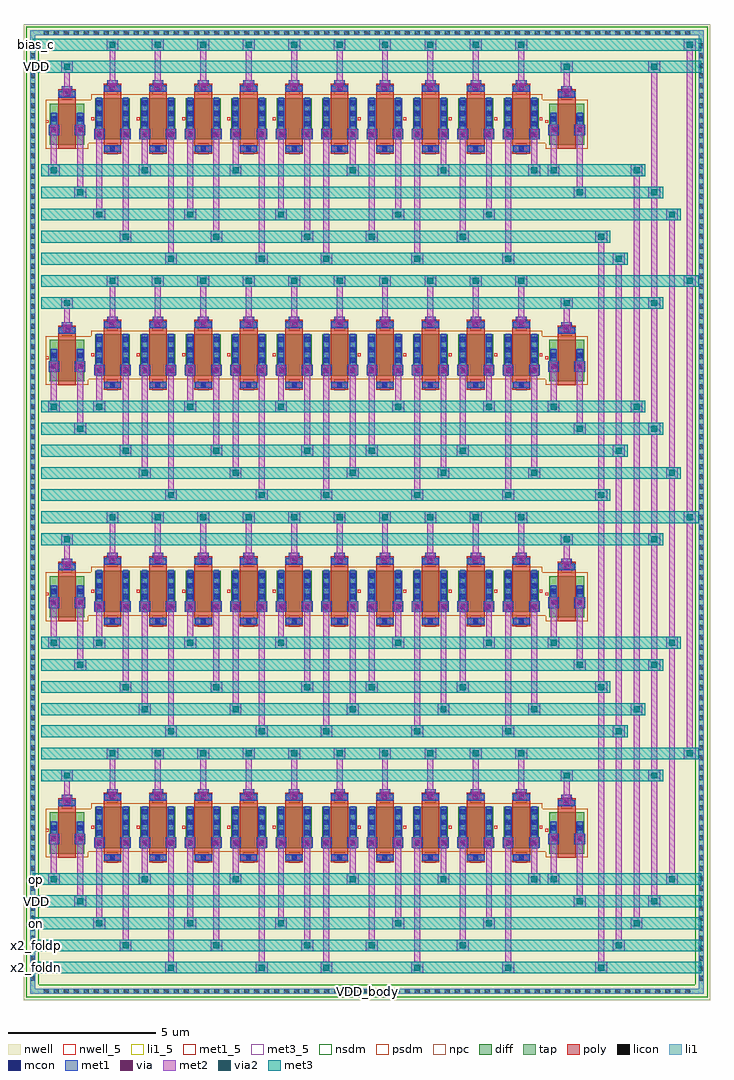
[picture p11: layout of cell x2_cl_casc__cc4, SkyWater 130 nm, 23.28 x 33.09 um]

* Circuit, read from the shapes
.subckt x2_cl_casc__cc4 VDD VDD_body bias_c on op x2_foldn x2_foldp
XM1 VDD VDD op VDD_body sky130_fd_pr__pfet_01v8 w=1.4 l=0.6 m=4
XM2 VDD VDD on VDD_body sky130_fd_pr__pfet_01v8 w=1.4 l=0.6 m=4
XM3 x2_foldp bias_c on VDD_body sky130_fd_pr__pfet_01v8 w=1.4 l=0.6 m=20
XM4 x2_foldn bias_c op VDD_body sky130_fd_pr__pfet_01v8 w=1.4 l=0.6 m=20
.ends

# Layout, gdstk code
from math import pi, radians
import gdstk
lib = gdstk.Library(unit=1e-6, precision=1e-09)
def R(c, l, rs):  # rectangles x0, y0, x1, y1
    for r in rs: c.add(gdstk.rectangle(r[:2], r[2:], *l))
def A(c, l, x, y, w, h, nx, ny, dx, dy):  # array of equal rectangles
    R(c, l, [(x+i*dx, y+j*dy, x+i*dx+w, y+j*dy+h) for i in range(nx) for j in range(ny)])
nwell_5 = (64, 5)
nwell = (64, 20)
diff = (65, 20)
tap = (65, 44)
poly = (66, 20)
licon = (66, 44)
li1_5 = (67, 5)
li1 = (67, 20)
mcon = (67, 44)
met1_5 = (68, 5)
met1 = (68, 20)
via = (68, 44)
met2 = (69, 20)
via2 = (69, 44)
met3_5 = (70, 5)
met3 = (70, 20)
nsdm = (93, 44)
psdm = (94, 20)
npc = (95, 20)

sky130_fd_pr__pfet_01v8_ = lib.new_cell('sky130_fd_pr__pfet_01v8_FGX5XW')
R(sky130_fd_pr__pfet_01v8_, nwell, [(-0.77,-1.19,0.77,1.02)])
R(sky130_fd_pr__pfet_01v8_, diff, [(-0.59,-0.88,0.59,0.52)])
R(sky130_fd_pr__pfet_01v8_, poly, [(-0.3,-1.01,0.3,1.005)])
R(sky130_fd_pr__pfet_01v8_, licon, [(-0.53,-0.435,-0.36,-0.265), (0.36,-0.435,0.53,-0.265), (-0.53,-0.095,-0.36,0.075), (0.36,-0.095,0.53,0.075), (-0.085,0.755,0.085,0.925)])
R(sky130_fd_pr__pfet_01v8_, li1, [(-0.53,-0.58,-0.36,0.22), (0.36,-0.58,0.53,0.22), (-0.3,0.755,0.3,0.925)])
R(sky130_fd_pr__pfet_01v8_, mcon, [(-0.53,-0.445,-0.36,-0.275), (0.36,-0.445,0.53,-0.275), (-0.53,-0.085,-0.36,0.085), (0.36,-0.085,0.53,0.085), (-0.085,0.755,0.085,0.925)])
R(sky130_fd_pr__pfet_01v8_, met1, [(-0.56,-0.56,-0.33,0.2), (0.33,-0.56,0.56,0.2), (-0.28,0.725,0.28,0.955)])
R(sky130_fd_pr__pfet_01v8_, psdm, [(-0.715,-1.005,0.715,0.645)])
R(sky130_fd_pr__pfet_01v8_, npc, [(-0.185,0.655,0.185,1.025)])
sky130_fd_pr__pfet_01v8_.add(gdstk.Label('D', (-0.445,-0.18), layer=67, texttype=5))
sky130_fd_pr__pfet_01v8_.add(gdstk.Label('S', (0.445,-0.18), layer=67, texttype=5))
sky130_fd_pr__pfet_01v8_.add(gdstk.Label('G', (0,0.84), layer=67, texttype=5))

pfet_01v8_w1p4_l0p6_m4__ = lib.new_cell('pfet_01v8_W1p4_L0p6_m4__nf1_gtop_sdhalf_ng')
R(pfet_01v8_w1p4_l0p6_m4__, nwell_5, [(0.05,1.055,0.15,1.155)])
R(pfet_01v8_w1p4_l0p6_m4__, nwell, [(0.05,1.055,0.15,1.155)])
R(pfet_01v8_w1p4_l0p6_m4__, met1_5, [(0.21,1.01,0.44,1.21), (1.1,1.01,1.33,1.21), (0.49,1.915,1.05,2.145)])
R(pfet_01v8_w1p4_l0p6_m4__, met1, [(0.21,1.01,0.44,1.21), (1.1,1.01,1.33,1.21), (0.49,1.915,1.05,2.145)])
pfet_01v8_w1p4_l0p6_m4__.add(gdstk.Reference(sky130_fd_pr__pfet_01v8_, (0.77,1.19)))
pfet_01v8_w1p4_l0p6_m4__.add(gdstk.Label('D', (0.325,1.11), layer=68, texttype=5))
pfet_01v8_w1p4_l0p6_m4__.add(gdstk.Label('S', (1.215,1.11), layer=68, texttype=5))
pfet_01v8_w1p4_l0p6_m4__.add(gdstk.Label('G', (0.77,2.03), layer=68, texttype=5))
pfet_01v8_w1p4_l0p6_m4__.add(gdstk.Label('B', (0.1,1.105), layer=64, texttype=5))

c_sky130_fd_pr__pfet_01v8_ = lib.new_cell('sky130_fd_pr__pfet_01v8_RGDEC8')
R(c_sky130_fd_pr__pfet_01v8_, nwell, [(-0.77,-1.2,0.77,1.2)])
R(c_sky130_fd_pr__pfet_01v8_, diff, [(-0.59,-0.7,0.59,0.7)])
R(c_sky130_fd_pr__pfet_01v8_, poly, [(-0.3,-1.185,0.3,1.185)])
A(c_sky130_fd_pr__pfet_01v8_, licon, -0.53, -0.595, 0.17, 0.17, 1, 4, 0, 0.34)
A(c_sky130_fd_pr__pfet_01v8_, licon, 0.36, -0.595, 0.17, 0.17, 1, 4, 0, 0.34)
R(c_sky130_fd_pr__pfet_01v8_, licon, [(-0.085,-1.105,0.085,-0.935), (-0.085,0.935,0.085,1.105)])
R(c_sky130_fd_pr__pfet_01v8_, li1, [(-0.3,-1.105,0.3,-0.935), (-0.53,-0.72,-0.36,0.72), (0.36,-0.72,0.53,0.72), (-0.3,0.935,0.3,1.105)])
A(c_sky130_fd_pr__pfet_01v8_, mcon, -0.53, -0.625, 0.17, 0.17, 1, 4, 0, 0.36)
A(c_sky130_fd_pr__pfet_01v8_, mcon, 0.36, -0.625, 0.17, 0.17, 1, 4, 0, 0.36)
R(c_sky130_fd_pr__pfet_01v8_, mcon, [(-0.085,-1.105,0.085,-0.935), (-0.085,0.935,0.085,1.105)])
R(c_sky130_fd_pr__pfet_01v8_, met1, [(-0.28,-1.135,0.28,-0.905), (-0.56,-0.7,-0.33,0.7), (0.33,-0.7,0.56,0.7), (-0.28,0.905,0.28,1.135)])
R(c_sky130_fd_pr__pfet_01v8_, psdm, [(-0.715,-0.825,0.715,0.825)])
R(c_sky130_fd_pr__pfet_01v8_, npc, [(-0.185,-1.205,0.185,-0.835), (-0.185,0.835,0.185,1.205)])
c_sky130_fd_pr__pfet_01v8_.add(gdstk.Label('D', (-0.445,0), layer=67, texttype=5))
c_sky130_fd_pr__pfet_01v8_.add(gdstk.Label('S', (0.445,0), layer=67, texttype=5))
c_sky130_fd_pr__pfet_01v8_.add(gdstk.Label('G', (0,1.02), layer=67, texttype=5))

pfet_01v8_w1p4_l0p6_m20_ = lib.new_cell('pfet_01v8_W1p4_L0p6_m20__nf1_gboth_sdfull_ng')
R(pfet_01v8_w1p4_l0p6_m20_, nwell_5, [(0.05,1.15,0.15,1.25)])
R(pfet_01v8_w1p4_l0p6_m20_, nwell, [(0.05,1.15,0.15,1.25)])
R(pfet_01v8_w1p4_l0p6_m20_, met1_5, [(0.21,1.2,0.44,1.4), (1.1,1.2,1.33,1.4), (0.49,2.105,1.05,2.335)])
R(pfet_01v8_w1p4_l0p6_m20_, met1, [(0.21,1.2,0.44,1.4), (1.1,1.2,1.33,1.4), (0.49,2.105,1.05,2.335)])
pfet_01v8_w1p4_l0p6_m20_.add(gdstk.Reference(c_sky130_fd_pr__pfet_01v8_, (0.77,1.2)))
pfet_01v8_w1p4_l0p6_m20_.add(gdstk.Label('D', (0.325,1.3), layer=68, texttype=5))
pfet_01v8_w1p4_l0p6_m20_.add(gdstk.Label('S', (1.215,1.3), layer=68, texttype=5))
pfet_01v8_w1p4_l0p6_m20_.add(gdstk.Label('G', (0.77,2.22), layer=68, texttype=5))
pfet_01v8_w1p4_l0p6_m20_.add(gdstk.Label('B', (0.1,1.2), layer=64, texttype=5))

x2_cl_casc__cc4 = lib.new_cell('x2_cl_casc__cc4')
R(x2_cl_casc__cc4, nwell, [(-0.7,-4.65,22.58,28.44)])
R(x2_cl_casc__cc4, tap, [(-0.485,-4.435,22.365,-4.265), (-0.485,-4.265,-0.315,28.055), (22.195,-4.265,22.365,28.055), (-0.485,28.055,22.365,28.225)])
A(x2_cl_casc__cc4, licon, -0.025, -4.435, 0.17, 0.17, 65, 2, 0.34, 32.49)
A(x2_cl_casc__cc4, licon, -0.485, -4, 0.17, 0.17, 1, 94, 0, 0.34)
A(x2_cl_casc__cc4, licon, 22.195, -4, 0.17, 0.17, 1, 94, 0, 0.34)
R(x2_cl_casc__cc4, li1_5, [(10.89,-4.4,10.99,-4.3)])
R(x2_cl_casc__cc4, li1, [(-0.485,-4.435,22.365,-4.265), (-0.485,-4.265,-0.315,28.055), (22.195,-4.265,22.365,28.055), (-0.485,28.055,22.365,28.225)])
A(x2_cl_casc__cc4, met1, 1.685, 0.505, 0.36, 0.36, 1, 4, 0, 8.01)
A(x2_cl_casc__cc4, met1, 2.575, 0.505, 0.36, 0.36, 1, 4, 0, 8.01)
A(x2_cl_casc__cc4, met1, 3.225, 0.505, 0.36, 0.36, 1, 4, 0, 8.01)
A(x2_cl_casc__cc4, met1, 4.115, 0.505, 0.36, 0.36, 1, 4, 0, 8.01)
A(x2_cl_casc__cc4, met1, 4.765, 0.505, 0.36, 0.36, 1, 4, 0, 8.01)
A(x2_cl_casc__cc4, met1, 5.655, 0.505, 0.36, 0.36, 1, 4, 0, 8.01)
A(x2_cl_casc__cc4, met1, 6.305, 0.505, 0.36, 0.36, 1, 4, 0, 8.01)
A(x2_cl_casc__cc4, met1, 7.195, 0.505, 0.36, 0.36, 1, 4, 0, 8.01)
A(x2_cl_casc__cc4, met1, 7.845, 0.505, 0.36, 0.36, 1, 4, 0, 8.01)
A(x2_cl_casc__cc4, met1, 8.735, 0.505, 0.36, 0.36, 1, 4, 0, 8.01)
A(x2_cl_casc__cc4, met1, 9.385, 0.505, 0.36, 0.36, 1, 4, 0, 8.01)
A(x2_cl_casc__cc4, met1, 10.275, 0.505, 0.36, 0.36, 1, 4, 0, 8.01)
A(x2_cl_casc__cc4, met1, 10.925, 0.505, 0.36, 0.36, 1, 4, 0, 8.01)
A(x2_cl_casc__cc4, met1, 11.815, 0.505, 0.36, 0.36, 1, 4, 0, 8.01)
A(x2_cl_casc__cc4, met1, 12.465, 0.505, 0.36, 0.36, 1, 4, 0, 8.01)
A(x2_cl_casc__cc4, met1, 13.355, 0.505, 0.36, 0.36, 1, 4, 0, 8.01)
A(x2_cl_casc__cc4, met1, 14.005, 0.505, 0.36, 0.36, 1, 4, 0, 8.01)
A(x2_cl_casc__cc4, met1, 14.895, 0.505, 0.36, 0.36, 1, 4, 0, 8.01)
A(x2_cl_casc__cc4, met1, 15.545, 0.505, 0.36, 0.36, 1, 4, 0, 8.01)
A(x2_cl_casc__cc4, met1, 16.435, 0.505, 0.36, 0.36, 1, 4, 0, 8.01)
A(x2_cl_casc__cc4, met1, 0.145, 0.63, 0.36, 0.36, 1, 4, 0, 8.01)
A(x2_cl_casc__cc4, met1, 1.035, 0.63, 0.36, 0.36, 1, 4, 0, 8.01)
A(x2_cl_casc__cc4, met1, 17.085, 0.63, 0.36, 0.36, 1, 4, 0, 8.01)
A(x2_cl_casc__cc4, met1, 17.975, 0.63, 0.36, 0.36, 1, 4, 0, 8.01)
A(x2_cl_casc__cc4, met1, 0.59, 1.945, 0.36, 0.36, 1, 4, 0, 8.01)
A(x2_cl_casc__cc4, met1, 17.53, 1.945, 0.36, 0.36, 1, 4, 0, 8.01)
A(x2_cl_casc__cc4, met1, 2.13, 2.14, 0.36, 0.36, 10, 4, 1.54, 8.01)
A(x2_cl_casc__cc4, via, 1.79, 0.61, 0.15, 0.15, 1, 4, 0, 8.01)
A(x2_cl_casc__cc4, via, 2.68, 0.61, 0.15, 0.15, 1, 4, 0, 8.01)
A(x2_cl_casc__cc4, via, 3.33, 0.61, 0.15, 0.15, 1, 4, 0, 8.01)
A(x2_cl_casc__cc4, via, 4.22, 0.61, 0.15, 0.15, 1, 4, 0, 8.01)
A(x2_cl_casc__cc4, via, 4.87, 0.61, 0.15, 0.15, 1, 4, 0, 8.01)
A(x2_cl_casc__cc4, via, 5.76, 0.61, 0.15, 0.15, 1, 4, 0, 8.01)
A(x2_cl_casc__cc4, via, 6.41, 0.61, 0.15, 0.15, 1, 4, 0, 8.01)
A(x2_cl_casc__cc4, via, 7.3, 0.61, 0.15, 0.15, 1, 4, 0, 8.01)
A(x2_cl_casc__cc4, via, 7.95, 0.61, 0.15, 0.15, 1, 4, 0, 8.01)
A(x2_cl_casc__cc4, via, 8.84, 0.61, 0.15, 0.15, 1, 4, 0, 8.01)
A(x2_cl_casc__cc4, via, 9.49, 0.61, 0.15, 0.15, 1, 4, 0, 8.01)
A(x2_cl_casc__cc4, via, 10.38, 0.61, 0.15, 0.15, 1, 4, 0, 8.01)
A(x2_cl_casc__cc4, via, 11.03, 0.61, 0.15, 0.15, 1, 4, 0, 8.01)
A(x2_cl_casc__cc4, via, 11.92, 0.61, 0.15, 0.15, 1, 4, 0, 8.01)
A(x2_cl_casc__cc4, via, 12.57, 0.61, 0.15, 0.15, 1, 4, 0, 8.01)
A(x2_cl_casc__cc4, via, 13.46, 0.61, 0.15, 0.15, 1, 4, 0, 8.01)
A(x2_cl_casc__cc4, via, 14.11, 0.61, 0.15, 0.15, 1, 4, 0, 8.01)
A(x2_cl_casc__cc4, via, 15, 0.61, 0.15, 0.15, 1, 4, 0, 8.01)
A(x2_cl_casc__cc4, via, 15.65, 0.61, 0.15, 0.15, 1, 4, 0, 8.01)
A(x2_cl_casc__cc4, via, 16.54, 0.61, 0.15, 0.15, 1, 4, 0, 8.01)
A(x2_cl_casc__cc4, via, 0.25, 0.735, 0.15, 0.15, 1, 4, 0, 8.01)
A(x2_cl_casc__cc4, via, 1.14, 0.735, 0.15, 0.15, 1, 4, 0, 8.01)
A(x2_cl_casc__cc4, via, 17.19, 0.735, 0.15, 0.15, 1, 4, 0, 8.01)
A(x2_cl_casc__cc4, via, 18.08, 0.735, 0.15, 0.15, 1, 4, 0, 8.01)
A(x2_cl_casc__cc4, via, 0.695, 2.05, 0.15, 0.15, 1, 4, 0, 8.01)
A(x2_cl_casc__cc4, via, 17.635, 2.05, 0.15, 0.15, 1, 4, 0, 8.01)
A(x2_cl_casc__cc4, via, 2.235, 2.245, 0.15, 0.15, 10, 4, 1.54, 8.01)
A(x2_cl_casc__cc4, met2, 4.095, -3.75, 0.4, 0.4, 1, 4, 0, 8.01)
A(x2_cl_casc__cc4, met2, 7.175, -3.75, 0.4, 0.4, 1, 4, 0, 8.01)
A(x2_cl_casc__cc4, met2, 9.365, -3.75, 0.4, 0.4, 3, 4, 3.08, 8.01)
A(x2_cl_casc__cc4, met2, 4.195, -3.35, 0.2, 3.875, 1, 4, 0, 8.01)
A(x2_cl_casc__cc4, met2, 7.275, -3.35, 0.2, 3.875, 1, 4, 0, 8.01)
A(x2_cl_casc__cc4, met2, 9.465, -3.35, 0.2, 3.875, 3, 4, 3.08, 8.01)
A(x2_cl_casc__cc4, met2, 2.555, -3, 0.4, 0.4, 3, 2, 3.08, 8.76)
A(x2_cl_casc__cc4, met2, 2.655, -2.6, 0.2, 3.125, 3, 2, 3.08, 24.03)
A(x2_cl_casc__cc4, met2, 1.665, -2.25, 0.4, 0.4, 3, 2, 3.08, 9.51)
A(x2_cl_casc__cc4, met2, 1.765, -1.85, 0.2, 2.375, 3, 2, 3.08, 24.03)
A(x2_cl_casc__cc4, met2, 1.015, -1.5, 0.4, 0.4, 1, 4, 0, 8.01)
A(x2_cl_casc__cc4, met2, 17.955, -1.5, 0.4, 0.4, 1, 4, 0, 8.01)
A(x2_cl_casc__cc4, met2, 1.115, -1.1, 0.2, 1.75, 1, 4, 0, 8.01)
A(x2_cl_casc__cc4, met2, 18.055, -1.1, 0.2, 1.75, 1, 4, 0, 8.01)
A(x2_cl_casc__cc4, met2, 20.58, -1.1, 0.2, 3.86, 1, 4, 0, 8.01)
A(x2_cl_casc__cc4, met2, 0.125, -0.75, 0.4, 0.4, 3, 2, 3.08, 24.03)
A(x2_cl_casc__cc4, met2, 10.255, -0.75, 0.4, 0.4, 3, 2, 3.08, 5.76)
A(x2_cl_casc__cc4, met2, 17.065, -0.75, 0.4, 0.4, 1, 4, 0, 8.01)
A(x2_cl_casc__cc4, met2, 0.225, -0.35, 0.2, 1, 1, 4, 0, 8.01)
A(x2_cl_casc__cc4, met2, 10.355, -0.35, 0.2, 0.875, 3, 2, 3.08, 24.03)
A(x2_cl_casc__cc4, met2, 17.165, -0.35, 0.2, 1, 1, 4, 0, 8.01)
A(x2_cl_casc__cc4, met2, 1.735, 0.525, 0.26, 0.32, 1, 4, 0, 8.01)
A(x2_cl_casc__cc4, met2, 2.625, 0.525, 0.26, 0.32, 1, 4, 0, 8.01)
A(x2_cl_casc__cc4, met2, 3.275, 0.525, 0.26, 0.32, 1, 4, 0, 8.01)
A(x2_cl_casc__cc4, met2, 4.165, 0.525, 0.26, 0.32, 1, 4, 0, 8.01)
A(x2_cl_casc__cc4, met2, 4.815, 0.525, 0.26, 0.32, 1, 4, 0, 8.01)
A(x2_cl_casc__cc4, met2, 5.705, 0.525, 0.26, 0.32, 1, 4, 0, 8.01)
A(x2_cl_casc__cc4, met2, 6.355, 0.525, 0.26, 0.32, 1, 4, 0, 8.01)
A(x2_cl_casc__cc4, met2, 7.245, 0.525, 0.26, 0.32, 1, 4, 0, 8.01)
A(x2_cl_casc__cc4, met2, 7.895, 0.525, 0.26, 0.32, 1, 4, 0, 8.01)
A(x2_cl_casc__cc4, met2, 8.785, 0.525, 0.26, 0.32, 1, 4, 0, 8.01)
A(x2_cl_casc__cc4, met2, 9.435, 0.525, 0.26, 0.32, 1, 4, 0, 8.01)
A(x2_cl_casc__cc4, met2, 10.325, 0.525, 0.26, 0.32, 1, 4, 0, 8.01)
A(x2_cl_casc__cc4, met2, 10.975, 0.525, 0.26, 0.32, 1, 4, 0, 8.01)
A(x2_cl_casc__cc4, met2, 11.865, 0.525, 0.26, 0.32, 1, 4, 0, 8.01)
A(x2_cl_casc__cc4, met2, 12.515, 0.525, 0.26, 0.32, 1, 4, 0, 8.01)
A(x2_cl_casc__cc4, met2, 13.405, 0.525, 0.26, 0.32, 1, 4, 0, 8.01)
A(x2_cl_casc__cc4, met2, 14.055, 0.525, 0.26, 0.32, 1, 4, 0, 8.01)
A(x2_cl_casc__cc4, met2, 14.945, 0.525, 0.26, 0.32, 1, 4, 0, 8.01)
A(x2_cl_casc__cc4, met2, 15.595, 0.525, 0.26, 0.32, 1, 4, 0, 8.01)
A(x2_cl_casc__cc4, met2, 16.485, 0.525, 0.26, 0.32, 1, 4, 0, 8.01)
A(x2_cl_casc__cc4, met2, 0.195, 0.65, 0.26, 0.32, 1, 4, 0, 8.01)
A(x2_cl_casc__cc4, met2, 1.085, 0.65, 0.26, 0.32, 1, 4, 0, 8.01)
A(x2_cl_casc__cc4, met2, 17.135, 0.65, 0.26, 0.32, 1, 4, 0, 8.01)
A(x2_cl_casc__cc4, met2, 18.025, 0.65, 0.26, 0.32, 1, 4, 0, 8.01)
A(x2_cl_casc__cc4, met2, 0.64, 1.965, 0.26, 0.32, 1, 4, 0, 8.01)
A(x2_cl_casc__cc4, met2, 17.58, 1.965, 0.26, 0.32, 1, 4, 0, 8.01)
A(x2_cl_casc__cc4, met2, 2.18, 2.16, 0.26, 0.32, 10, 4, 1.54, 8.01)
A(x2_cl_casc__cc4, met2, 0.67, 2.285, 0.2, 0.475, 1, 4, 0, 8.01)
A(x2_cl_casc__cc4, met2, 17.61, 2.285, 0.2, 0.475, 1, 4, 0, 8.01)
A(x2_cl_casc__cc4, met2, 2.21, 2.48, 0.2, 1.03, 10, 4, 1.54, 8.01)
A(x2_cl_casc__cc4, met2, 0.57, 2.76, 0.4, 0.4, 1, 4, 0, 8.01)
A(x2_cl_casc__cc4, met2, 17.51, 2.76, 0.4, 0.4, 1, 4, 0, 8.01)
A(x2_cl_casc__cc4, met2, 20.58, 3.16, 0.2, 3.35, 1, 3, 0, 8.01)
A(x2_cl_casc__cc4, met2, 2.11, 3.51, 0.4, 0.4, 10, 4, 1.54, 8.01)
A(x2_cl_casc__cc4, met2, 21.68, 3.51, 0.4, 0.4, 1, 4, 0, 8.01)
A(x2_cl_casc__cc4, met2, 21.78, 3.91, 0.2, 7.61, 1, 3, 0, 8.01)
A(x2_cl_casc__cc4, met2, 10.355, 5.41, 0.2, 3.125, 3, 2, 3.08, 8.01)
A(x2_cl_casc__cc4, met2, 2.655, 6.16, 0.2, 2.375, 3, 2, 3.08, 8.01)
A(x2_cl_casc__cc4, met2, 1.765, 7.66, 0.2, 0.875, 3, 2, 3.08, 8.01)
A(x2_cl_casc__cc4, met2, 10.255, 13.02, 0.4, 0.4, 3, 2, 3.08, 10.26)
A(x2_cl_casc__cc4, met2, 2.555, 13.77, 0.4, 0.4, 3, 2, 3.08, 7.26)
A(x2_cl_casc__cc4, met2, 1.665, 15.27, 0.4, 0.4, 3, 2, 3.08, 6.51)
R(x2_cl_casc__cc4, met2, [(18.68,-3.75,19.08,-3.35), (18.78,-3.35,18.98,5.76), (10.905,-3,11.305,-2.6), (13.985,-3,14.385,-2.6), (19.28,-3,19.68,-2.6), (11.005,-2.6,11.205,0.525), (14.085,-2.6,14.285,0.525), (19.38,-2.6,19.58,4.26), (11.795,-2.25,12.195,-1.85), (14.875,-2.25,15.275,-1.85), (19.88,-2.25,20.28,-1.85), (11.895,-1.85,12.095,0.525), (14.975,-1.85,15.175,0.525), (19.98,-1.85,20.18,5.01), (20.48,-1.5,20.88,-1.1), (21.08,-0.75,21.48,-0.35), (3.305,-0.35,3.505,0.525), (6.385,-0.35,6.585,0.525), (21.18,-0.35,21.38,7.26), (20.48,2.76,20.88,3.16), (19.28,4.26,19.68,4.66), (19.38,4.66,19.58,13.77), (3.205,5.01,3.605,5.41), (6.285,5.01,6.685,5.41), (19.88,5.01,20.28,5.41), (3.305,5.41,3.505,8.535), (6.385,5.41,6.585,8.535), (19.98,5.41,20.18,15.27), (10.905,5.76,11.305,6.16), (13.985,5.76,14.385,6.16), (18.68,5.76,19.08,6.16), (11.005,6.16,11.205,8.535), (14.085,6.16,14.285,8.535), (18.78,6.16,18.98,12.27), (20.48,6.51,20.88,6.91), (0.125,7.26,0.525,7.66), (11.795,7.26,12.195,7.66), (14.875,7.26,15.275,7.66), (21.08,7.26,21.48,7.66), (11.895,7.66,12.095,8.535), (14.975,7.66,15.175,8.535), (21.18,7.66,21.38,13.02), (20.48,10.77,20.88,11.17), (18.68,12.27,19.08,12.67), (18.78,12.67,18.98,21.03), (3.205,13.02,3.605,13.42), (6.285,13.02,6.685,13.42), (21.08,13.02,21.48,13.42), (3.305,13.42,3.505,16.545), (6.385,13.42,6.585,16.545), (21.18,13.42,21.38,21.78), (10.905,13.77,11.305,14.17), (13.985,13.77,14.385,14.17), (19.28,13.77,19.68,14.17), (11.005,14.17,11.205,16.545), (14.085,14.17,14.285,16.545), (19.38,14.17,19.58,20.28), (20.48,14.52,20.88,14.92), (0.125,15.27,0.525,15.67), (11.795,15.27,12.195,15.67), (14.875,15.27,15.275,15.67), (19.88,15.27,20.28,15.67), (11.895,15.67,12.095,16.545), (14.975,15.67,15.175,16.545), (19.98,15.67,20.18,23.28), (20.48,18.78,20.88,19.18), (19.28,20.28,19.68,20.68), (10.905,21.03,11.305,21.43), (13.985,21.03,14.385,21.43), (18.68,21.03,19.08,21.43), (11.005,21.43,11.205,24.555), (14.085,21.43,14.285,24.555), (11.795,21.78,12.195,22.18), (14.875,21.78,15.275,22.18), (21.08,21.78,21.48,22.18), (11.895,22.18,12.095,24.555), (14.975,22.18,15.175,24.555), (20.48,22.53,20.88,22.93), (19.88,23.28,20.28,23.68), (3.305,23.68,3.505,24.555), (6.385,23.68,6.585,24.555), (20.48,26.79,20.88,27.19)])
A(x2_cl_casc__cc4, via2, 4.195, -3.65, 0.2, 0.2, 1, 4, 0, 8.01)
A(x2_cl_casc__cc4, via2, 7.275, -3.65, 0.2, 0.2, 1, 4, 0, 8.01)
A(x2_cl_casc__cc4, via2, 9.465, -3.65, 0.2, 0.2, 3, 4, 3.08, 8.01)
A(x2_cl_casc__cc4, via2, 2.655, -2.9, 0.2, 0.2, 3, 2, 3.08, 8.76)
A(x2_cl_casc__cc4, via2, 1.765, -2.15, 0.2, 0.2, 3, 2, 3.08, 9.51)
A(x2_cl_casc__cc4, via2, 1.115, -1.4, 0.2, 0.2, 1, 4, 0, 8.01)
A(x2_cl_casc__cc4, via2, 18.055, -1.4, 0.2, 0.2, 1, 4, 0, 8.01)
A(x2_cl_casc__cc4, via2, 0.225, -0.65, 0.2, 0.2, 3, 2, 3.08, 24.03)
A(x2_cl_casc__cc4, via2, 10.355, -0.65, 0.2, 0.2, 3, 2, 3.08, 5.76)
A(x2_cl_casc__cc4, via2, 17.165, -0.65, 0.2, 0.2, 1, 4, 0, 8.01)
A(x2_cl_casc__cc4, via2, 0.67, 2.86, 0.2, 0.2, 1, 4, 0, 8.01)
A(x2_cl_casc__cc4, via2, 17.61, 2.86, 0.2, 0.2, 1, 4, 0, 8.01)
A(x2_cl_casc__cc4, via2, 2.21, 3.61, 0.2, 0.2, 10, 4, 1.54, 8.01)
A(x2_cl_casc__cc4, via2, 21.78, 3.61, 0.2, 0.2, 1, 4, 0, 8.01)
A(x2_cl_casc__cc4, via2, 10.355, 13.12, 0.2, 0.2, 3, 2, 3.08, 10.26)
A(x2_cl_casc__cc4, via2, 2.655, 13.87, 0.2, 0.2, 3, 2, 3.08, 7.26)
A(x2_cl_casc__cc4, via2, 1.765, 15.37, 0.2, 0.2, 3, 2, 3.08, 6.51)
R(x2_cl_casc__cc4, via2, [(18.78,-3.65,18.98,-3.45), (11.005,-2.9,11.205,-2.7), (14.085,-2.9,14.285,-2.7), (19.38,-2.9,19.58,-2.7), (11.895,-2.15,12.095,-1.95), (14.975,-2.15,15.175,-1.95), (19.98,-2.15,20.18,-1.95), (20.58,-1.4,20.78,-1.2), (21.18,-0.65,21.38,-0.45), (20.58,2.86,20.78,3.06), (19.38,4.36,19.58,4.56), (3.305,5.11,3.505,5.31), (6.385,5.11,6.585,5.31), (19.98,5.11,20.18,5.31), (11.005,5.86,11.205,6.06), (14.085,5.86,14.285,6.06), (18.78,5.86,18.98,6.06), (20.58,6.61,20.78,6.81), (0.225,7.36,0.425,7.56), (11.895,7.36,12.095,7.56), (14.975,7.36,15.175,7.56), (21.18,7.36,21.38,7.56), (20.58,10.87,20.78,11.07), (18.78,12.37,18.98,12.57), (3.305,13.12,3.505,13.32), (6.385,13.12,6.585,13.32), (21.18,13.12,21.38,13.32), (11.005,13.87,11.205,14.07), (14.085,13.87,14.285,14.07), (19.38,13.87,19.58,14.07), (20.58,14.62,20.78,14.82), (0.225,15.37,0.425,15.57), (11.895,15.37,12.095,15.57), (14.975,15.37,15.175,15.57), (19.98,15.37,20.18,15.57), (20.58,18.88,20.78,19.08), (19.38,20.38,19.58,20.58), (11.005,21.13,11.205,21.33), (14.085,21.13,14.285,21.33), (18.78,21.13,18.98,21.33), (11.895,21.88,12.095,22.08), (14.975,21.88,15.175,22.08), (21.18,21.88,21.38,22.08), (20.58,22.63,20.78,22.83), (19.98,23.38,20.18,23.58), (20.58,26.89,20.78,27.09)])
A(x2_cl_casc__cc4, met3_5, -0.3, -3.6, 0.1, 0.1, 1, 5, 0, 0.75)
R(x2_cl_casc__cc4, met3_5, [(-0.3,26.94,-0.2,27.04), (-0.3,27.69,-0.2,27.79)])
A(x2_cl_casc__cc4, met3, -0.4, -3.75, 22.68, 0.4, 1, 5, 0, 0.75)
A(x2_cl_casc__cc4, met3, -0.1, 3.51, 22.28, 0.4, 1, 3, 0, 8.01)
R(x2_cl_casc__cc4, met3, [(-0.1,2.76,20.98,3.16), (-0.1,4.26,19.78,4.66), (-0.1,5.01,20.38,5.41), (-0.1,5.76,19.18,6.16), (-0.1,6.51,20.98,6.91), (-0.1,7.26,21.58,7.66), (-0.1,10.77,20.98,11.17), (-0.1,12.27,19.18,12.67), (-0.1,13.02,21.58,13.42), (-0.1,13.77,19.78,14.17), (-0.1,14.52,20.98,14.92), (-0.1,15.27,20.38,15.67), (-0.1,18.78,20.98,19.18), (-0.1,20.28,19.78,20.68), (-0.1,21.03,19.18,21.43), (-0.1,21.78,21.58,22.18), (-0.1,22.53,20.98,22.93), (-0.1,23.28,20.38,23.68), (-0.4,26.79,22.28,27.19), (-0.4,27.54,22.28,27.94)])
R(x2_cl_casc__cc4, nsdm, [(-0.61,-4.56,22.49,-4.14), (-0.61,-4.14,-0.19,27.93), (22.07,-4.14,22.49,27.93), (-0.61,27.93,22.49,28.35)])
A(x2_cl_casc__cc4, psdm, 1.485, 0.375, 0.11, 1.46, 1, 4, 0, 8.01)
A(x2_cl_casc__cc4, psdm, 3.025, 0.375, 0.11, 1.65, 9, 4, 1.54, 8.01)
A(x2_cl_casc__cc4, psdm, 16.885, 0.375, 0.11, 1.46, 1, 4, 0, 8.01)
x2_cl_casc__cc4.add(gdstk.Reference(pfet_01v8_w1p4_l0p6_m4__, (0,0)))
x2_cl_casc__cc4.add(gdstk.Reference(pfet_01v8_w1p4_l0p6_m20_, (1.54,0)))
x2_cl_casc__cc4.add(gdstk.Reference(pfet_01v8_w1p4_l0p6_m20_, (3.08,0)))
x2_cl_casc__cc4.add(gdstk.Reference(pfet_01v8_w1p4_l0p6_m20_, (4.62,0)))
x2_cl_casc__cc4.add(gdstk.Reference(pfet_01v8_w1p4_l0p6_m20_, (6.16,0)))
x2_cl_casc__cc4.add(gdstk.Reference(pfet_01v8_w1p4_l0p6_m20_, (7.7,0)))
x2_cl_casc__cc4.add(gdstk.Reference(pfet_01v8_w1p4_l0p6_m20_, (10.78,0), rotation=pi, x_reflection=True))
x2_cl_casc__cc4.add(gdstk.Reference(pfet_01v8_w1p4_l0p6_m20_, (12.32,0), rotation=pi, x_reflection=True))
x2_cl_casc__cc4.add(gdstk.Reference(pfet_01v8_w1p4_l0p6_m20_, (13.86,0), rotation=pi, x_reflection=True))
x2_cl_casc__cc4.add(gdstk.Reference(pfet_01v8_w1p4_l0p6_m20_, (15.4,0), rotation=pi, x_reflection=True))
x2_cl_casc__cc4.add(gdstk.Reference(pfet_01v8_w1p4_l0p6_m20_, (16.94,0), rotation=pi, x_reflection=True))
x2_cl_casc__cc4.add(gdstk.Reference(pfet_01v8_w1p4_l0p6_m4__, (16.94,0)))
x2_cl_casc__cc4.add(gdstk.Reference(pfet_01v8_w1p4_l0p6_m4__, (0,8.01)))
x2_cl_casc__cc4.add(gdstk.Reference(pfet_01v8_w1p4_l0p6_m20_, (1.54,8.01)))
x2_cl_casc__cc4.add(gdstk.Reference(pfet_01v8_w1p4_l0p6_m20_, (3.08,8.01)))
x2_cl_casc__cc4.add(gdstk.Reference(pfet_01v8_w1p4_l0p6_m20_, (4.62,8.01)))
x2_cl_casc__cc4.add(gdstk.Reference(pfet_01v8_w1p4_l0p6_m20_, (6.16,8.01)))
x2_cl_casc__cc4.add(gdstk.Reference(pfet_01v8_w1p4_l0p6_m20_, (7.7,8.01)))
x2_cl_casc__cc4.add(gdstk.Reference(pfet_01v8_w1p4_l0p6_m20_, (10.78,8.01), rotation=pi, x_reflection=True))
x2_cl_casc__cc4.add(gdstk.Reference(pfet_01v8_w1p4_l0p6_m20_, (12.32,8.01), rotation=pi, x_reflection=True))
x2_cl_casc__cc4.add(gdstk.Reference(pfet_01v8_w1p4_l0p6_m20_, (13.86,8.01), rotation=pi, x_reflection=True))
x2_cl_casc__cc4.add(gdstk.Reference(pfet_01v8_w1p4_l0p6_m20_, (15.4,8.01), rotation=pi, x_reflection=True))
x2_cl_casc__cc4.add(gdstk.Reference(pfet_01v8_w1p4_l0p6_m20_, (16.94,8.01), rotation=pi, x_reflection=True))
x2_cl_casc__cc4.add(gdstk.Reference(pfet_01v8_w1p4_l0p6_m4__, (16.94,8.01)))
x2_cl_casc__cc4.add(gdstk.Reference(pfet_01v8_w1p4_l0p6_m4__, (0,16.02)))
x2_cl_casc__cc4.add(gdstk.Reference(pfet_01v8_w1p4_l0p6_m20_, (1.54,16.02)))
x2_cl_casc__cc4.add(gdstk.Reference(pfet_01v8_w1p4_l0p6_m20_, (3.08,16.02)))
x2_cl_casc__cc4.add(gdstk.Reference(pfet_01v8_w1p4_l0p6_m20_, (4.62,16.02)))
x2_cl_casc__cc4.add(gdstk.Reference(pfet_01v8_w1p4_l0p6_m20_, (6.16,16.02)))
x2_cl_casc__cc4.add(gdstk.Reference(pfet_01v8_w1p4_l0p6_m20_, (7.7,16.02)))
x2_cl_casc__cc4.add(gdstk.Reference(pfet_01v8_w1p4_l0p6_m20_, (10.78,16.02), rotation=pi, x_reflection=True))
x2_cl_casc__cc4.add(gdstk.Reference(pfet_01v8_w1p4_l0p6_m20_, (12.32,16.02), rotation=pi, x_reflection=True))
x2_cl_casc__cc4.add(gdstk.Reference(pfet_01v8_w1p4_l0p6_m20_, (13.86,16.02), rotation=pi, x_reflection=True))
x2_cl_casc__cc4.add(gdstk.Reference(pfet_01v8_w1p4_l0p6_m20_, (15.4,16.02), rotation=pi, x_reflection=True))
x2_cl_casc__cc4.add(gdstk.Reference(pfet_01v8_w1p4_l0p6_m20_, (16.94,16.02), rotation=pi, x_reflection=True))
x2_cl_casc__cc4.add(gdstk.Reference(pfet_01v8_w1p4_l0p6_m4__, (16.94,16.02)))
x2_cl_casc__cc4.add(gdstk.Reference(pfet_01v8_w1p4_l0p6_m4__, (0,24.03)))
x2_cl_casc__cc4.add(gdstk.Reference(pfet_01v8_w1p4_l0p6_m20_, (1.54,24.03)))
x2_cl_casc__cc4.add(gdstk.Reference(pfet_01v8_w1p4_l0p6_m20_, (3.08,24.03)))
x2_cl_casc__cc4.add(gdstk.Reference(pfet_01v8_w1p4_l0p6_m20_, (4.62,24.03)))
x2_cl_casc__cc4.add(gdstk.Reference(pfet_01v8_w1p4_l0p6_m20_, (6.16,24.03)))
x2_cl_casc__cc4.add(gdstk.Reference(pfet_01v8_w1p4_l0p6_m20_, (7.7,24.03)))
x2_cl_casc__cc4.add(gdstk.Reference(pfet_01v8_w1p4_l0p6_m20_, (10.78,24.03), rotation=pi, x_reflection=True))
x2_cl_casc__cc4.add(gdstk.Reference(pfet_01v8_w1p4_l0p6_m20_, (12.32,24.03), rotation=pi, x_reflection=True))
x2_cl_casc__cc4.add(gdstk.Reference(pfet_01v8_w1p4_l0p6_m20_, (13.86,24.03), rotation=pi, x_reflection=True))
x2_cl_casc__cc4.add(gdstk.Reference(pfet_01v8_w1p4_l0p6_m20_, (15.4,24.03), rotation=pi, x_reflection=True))
x2_cl_casc__cc4.add(gdstk.Reference(pfet_01v8_w1p4_l0p6_m20_, (16.94,24.03), rotation=pi, x_reflection=True))
x2_cl_casc__cc4.add(gdstk.Reference(pfet_01v8_w1p4_l0p6_m4__, (16.94,24.03)))
x2_cl_casc__cc4.add(gdstk.Label('VDD', (-0.25,26.99), layer=70, texttype=5))
x2_cl_casc__cc4.add(gdstk.Label('bias_c', (-0.25,27.74), layer=70, texttype=5))
x2_cl_casc__cc4.add(gdstk.Label('op', (-0.25,-0.55), layer=70, texttype=5))
x2_cl_casc__cc4.add(gdstk.Label('VDD', (-0.25,-1.3), layer=70, texttype=5))
x2_cl_casc__cc4.add(gdstk.Label('on', (-0.25,-2.05), layer=70, texttype=5))
x2_cl_casc__cc4.add(gdstk.Label('x2_foldp', (-0.25,-2.8), layer=70, texttype=5))
x2_cl_casc__cc4.add(gdstk.Label('x2_foldn', (-0.25,-3.55), layer=70, texttype=5))
x2_cl_casc__cc4.add(gdstk.Label('VDD_body', (10.94,-4.35), layer=67, texttype=5))

lib.write_gds('x2_cl_casc__cc4.gds')
